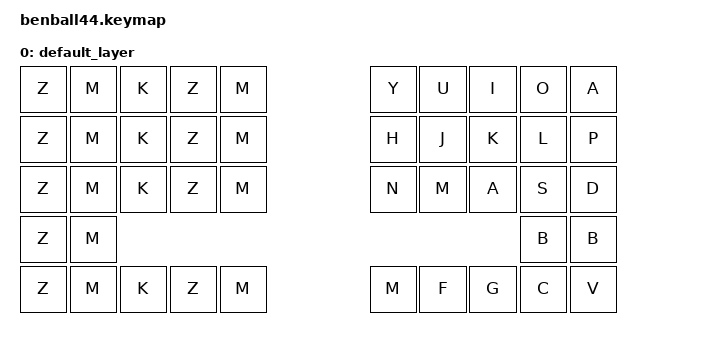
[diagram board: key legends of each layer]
#include <behaviors.dtsi>
#include <dt-bindings/zmk/keys.h>

/ {
    keymap {
        compatible = "zmk,keymap";

        default_layer { // Layer 0
            bindings = <
                &kp Z    &kp M    &kp K    &kp Z    &kp M                                       &kp Y    &kp U    &kp I    &kp O   &kp A
                &kp Z    &kp M    &kp K    &kp Z    &kp M                                       &kp H    &kp J    &kp K    &kp L   &kp P
                &kp Z    &kp M    &kp K    &kp Z    &kp M                                       &kp N    &kp M    &kp A    &kp S   &kp D
                &kp Z                                       &kp M                      &kp B                                       &kp B
                &kp Z    &kp M    &kp K    &kp Z    &kp M   &kp M                      &kp F    &kp G                      &kp C   &kp V
            >;
        };
    };
 };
